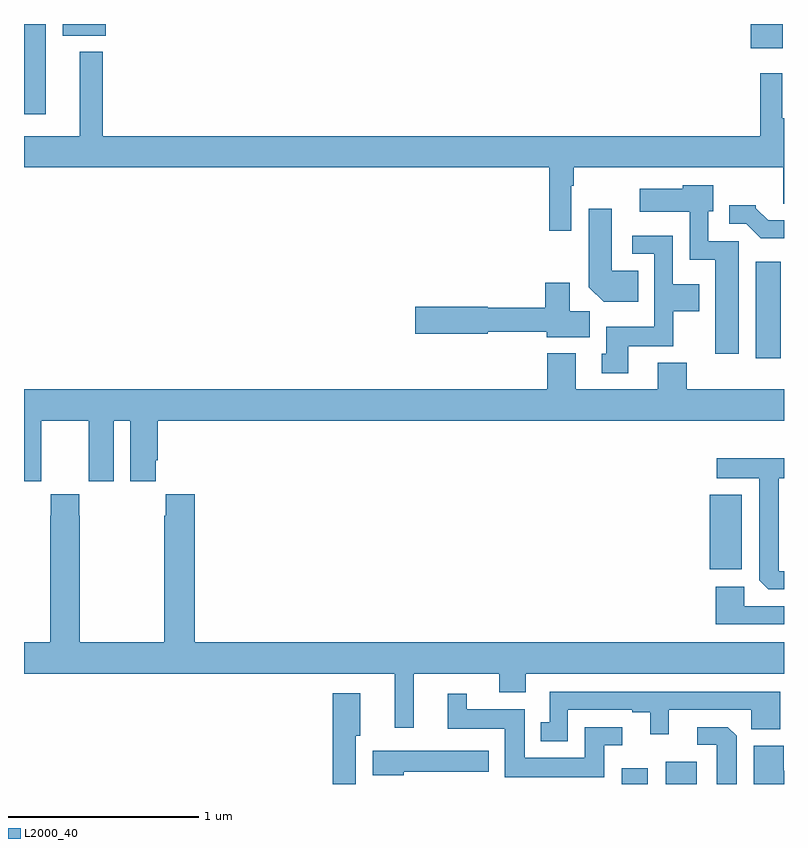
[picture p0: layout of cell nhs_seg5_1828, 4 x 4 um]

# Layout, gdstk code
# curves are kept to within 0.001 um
import gdstk
lib = gdstk.Library(unit=1e-6, precision=1e-09)
def R(c, l, rs):  # rectangles x0, y0, x1, y1
    for r in rs: c.add(gdstk.rectangle(r[:2], r[2:], *l))
def P(c, l, *ps):  # polygons
    for p in ps: c.add(gdstk.Polygon(p, *l))
L2000_40 = (2000, 40)

nhs_seg5_1828 = lib.new_cell('nhs_seg5_1828')
R(nhs_seg5_1828, L2000_40, [(222.146,902.799,222.283,902.881), (222.377,902.799,222.541,902.917), (222.608,903.929,222.778,904.321), (222.851,905.04,222.982,905.548), (219,906.323,219.115,906.799), (222.824,906.672,222.994,906.799), (219.203,906.737,219.43,906.799)])
P(nhs_seg5_1828, L2000_40, [(222.995,905.854),(223,905.854),(223,906.304),(222.99,906.304),(222.99,906.541),(222.874,906.541),(222.874,906.208),(219.415,906.208),(219.415,906.652),(219.293,906.652),(219.293,906.208),(219,906.208),(219,906.044),(221.764,906.044),(221.764,905.712),(221.88,905.712),(221.88,905.948),(221.893,905.948),(221.893,906.044),(222.995,906.044)],
  [(222.763,905.655),(222.6,905.655),(222.6,905.814),(222.628,905.814),(222.628,905.95),(222.468,905.95),(222.468,905.932),(222.24,905.932),(222.24,905.81),(222.504,905.81),(222.504,905.558),(222.638,905.558),(222.638,905.064),(222.763,905.064)],
  [(223,905.766),(222.916,905.766),(222.852,905.83),(222.852,905.845),(222.713,905.845),(222.713,905.748),(222.801,905.748),(222.877,905.672),(223,905.672)],
  [(222.233,905.5),(222.094,905.5),(222.094,905.827),(221.972,905.827),(221.972,905.414),(222.05,905.336),(222.233,905.336)],
  [(222.181,905.102),(222.417,905.102),(222.417,905.288),(222.553,905.288),(222.553,905.428),(222.414,905.428),(222.414,905.685),(222.201,905.685),(222.201,905.589),(222.318,905.589),(222.318,905.206),(222.065,905.206),(222.065,905.064),(222.041,905.064),(222.041,904.962),(222.181,904.962)],
  [(221.977,905.288),(221.872,905.288),(221.872,905.437),(221.743,905.437),(221.743,905.306),(221.442,905.306),(221.442,905.312),(221.058,905.312),(221.058,905.17),(221.442,905.17),(221.442,905.178),(221.75,905.178),(221.75,905.15),(221.977,905.15)],
  [(219.09,904.504),(219.091,904.504),(219.091,904.712),(219.341,904.712),(219.341,904.504),(219.342,904.504),(219.342,904.392),(219.472,904.392),(219.472,904.712),(219.56,904.712),(219.56,904.392),(219.694,904.392),(219.694,904.504),(219.704,904.504),(219.704,904.712),(223,904.712),(223,904.876),(222.488,904.876),(222.488,905.017),(222.335,905.017),(222.335,904.876),(221.905,904.876),(221.905,905.065),(221.753,905.065),(221.753,904.876),(219,904.876),(219,904.392),(219.09,904.392)],
  [(223,903.918),(222.973,903.918),(222.973,904.409),(223,904.409),(223,904.513),(222.645,904.513),(222.645,904.409),(222.869,904.409),(222.87,903.871),(222.916,903.825),(223,903.825)],
  [(221.051,903.38),(221.501,903.38),(221.501,903.281),(221.641,903.281),(221.641,903.38),(223,903.38),(223,903.544),(219.899,903.544),(219.899,904.324),(219.745,904.324),(219.745,904.211),(219.739,904.211),(219.739,903.544),(219.294,903.544),(219.294,904.211),(219.291,904.211),(219.291,904.324),(219.141,904.324),(219.141,904.211),(219.139,904.211),(219.139,903.544),(219,903.544),(219,903.38),(220.952,903.38),(220.952,903.096),(221.051,903.096)],
  [(223,903.735),(222.792,903.735),(222.792,903.838),(222.641,903.838),(222.641,903.639),(223,903.639)],
  [(221.862,903.189),(222.2,903.189),(222.2,903.177),(222.296,903.177),(222.296,903.06),(222.394,903.06),(222.394,903.189),(222.828,903.189),(222.828,903.086),(222.98,903.086),(222.98,903.285),(221.766,903.285),(221.766,903.123),(221.72,903.123),(221.72,903.023),(221.862,903.023)],
  [(220.747,903.054),(220.771,903.054),(220.771,903.277),(220.625,903.277),(220.625,902.799),(220.747,902.799)],
  [(222.055,903.003),(222.148,903.003),(222.148,903.099),(221.951,903.099),(221.951,902.938),(221.635,902.938),(221.635,903.193),(221.329,903.193),(221.329,903.274),(221.231,903.274),(221.231,903.089),(221.531,903.089),(221.531,902.834),(222.055,902.834)],
  [(222.751,902.942),(222.75,902.942),(222.75,903.053),(222.704,903.099),(222.543,903.099),(222.543,903.006),(222.647,903.006),(222.647,902.799),(222.751,902.799)],
  [(223,902.87),(222.998,902.87),(222.998,903.001),(222.842,903.001),(222.842,902.799),(223,902.799)],
  [(220.998,902.864),(221.446,902.864),(221.446,902.974),(220.836,902.974),(220.836,902.846),(220.998,902.846)])

lib.write_gds('nhs_seg5_1828.gds')
